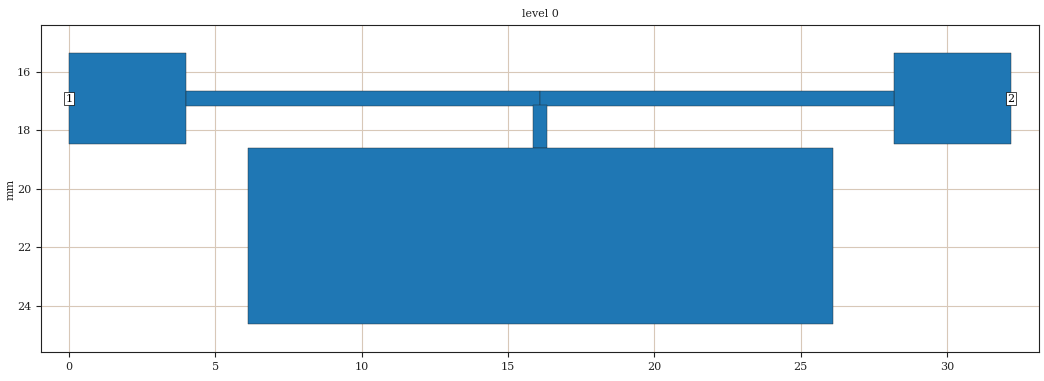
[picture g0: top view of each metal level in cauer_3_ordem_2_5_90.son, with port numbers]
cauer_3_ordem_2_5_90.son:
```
FTYP SONPROJ 13 ! Sonnet Project File
VER 15.53.lite
HEADER
LIC SL290709.106431 847bebfebdba DESKTOP-1CMJ3DP Arihe
DAT 05/14/2019 02:35:11
BUILT_BY_CREATED xgeom 15.53-Lite 04/13/2019 20:59:13
BUILT_BY_SAVED xgeom 15.53-Lite
MDATE 05/14/2019 02:35:11
HDATE 05/14/2019 02:35:11
END HEADER
DIM
FREQ GHZ
RSVY OHMM
IND NH
LNG MM
ANG DEG
CON /OH
CAP PF
RES OH
END DIM
FREQ
ABS 1.0e-9 3.0 
END FREQ
CONTROL
ABS
OPTIONS  -dj 
SPEED 0
CACHE_ABS 1
TARG_ABS 300
Q_ACC N
END CONTROL
GEO
DRP1 LEFT LINK
POLY 12 1
1
DRP1 RIGHT LINK
POLY 14 1
0
TMET "Lossless" 0 SUP 0 0 0 0
BMET "Lossless" 0 SUP 0 0 0 0
MET "Copper" 1 NOR 58000000 0 0.0347 
BOX 1 32.2 40 644 800 20 0
      20 1 1 0 0 0 0 "Air"
      1.5306 4.1 1 0.02 0 0 0 "FR-4"
LORGN 0 40 U 
POR1 STD
POLY 12 1
3
1 50 0 0 0 6.250004958e-010 16.925 
POR1 STD
POLY 14 1
1
2 50 0 0 0 32.2 16.925 
NUM 6
0 5 0 N 12 1 1 100 100 0 0 0 Y
6.250004958e-010 15.375
4.000000001 15.375
4.000000001 18.475
6.250004958e-010 18.475
6.250004958e-010 15.375
END
0 5 0 N 14 1 1 100 100 0 0 0 Y
28.2 15.375
32.2 15.375
32.2 18.475
28.2 18.475
28.2 15.375
END
0 5 0 N 16 1 1 100 100 0 0 0 Y
3.999999723 16.675
16.09999973 16.675
16.09999973 17.175
3.999999723 17.175
3.999999723 16.675
END
0 5 0 N 17 1 1 100 100 0 0 0 Y
16.09999973 16.675
28.19999973 16.675
28.19999973 17.175
16.09999973 17.175
16.09999973 16.675
END
0 5 0 N 18 1 1 100 100 0 0 0 Y
15.85000036 17.125
16.35000036 17.125
16.35000036 18.625
15.85000036 18.625
15.85000036 17.125
END
0 5 0 N 19 1 1 100 100 0 0 0 Y
26.1 18.625
26.1 24.625
6.099999998 24.625
6.099999998 18.625
26.1 18.625
END
END GEO
OPT
MAX 100
VARS
END
END OPT
VARSWP
END VARSWP
QSG
IMPORT NO
EXTRA_METAL NO
UNITS YES
ALIGN NO
REF NO
VIEW_RES NO
METALS YES
USED NO
END QSG
```
